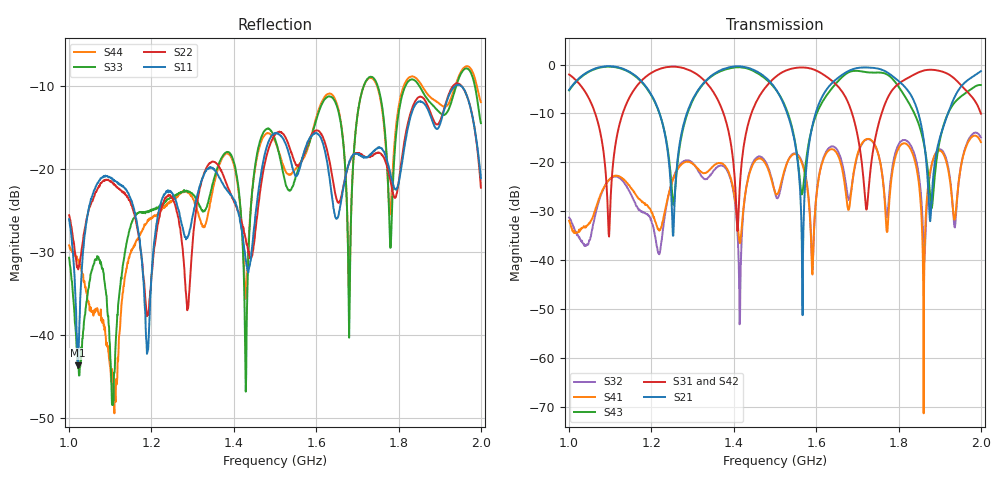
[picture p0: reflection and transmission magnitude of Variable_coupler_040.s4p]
#  HZ  S  DB  R  50.00
! Rohde & Schwarz Vector Network Analyzer
! Rohde-Schwarz,ZNB8-4Port,1311601044102961,2.82
! Created: UTC 1/17/2019, 3:10:14 PM
! freq[Hz]  db:S11  ang:S11  db:S12  ang:S12  db:S13  ang:S13  db:S14  ang:S14
!  db:S21  ang:S21  db:S22  ang:S22  db:S23  ang:S23  db:S24  ang:S24
!  db:S31  ang:S31  db:S32  ang:S32  db:S33  ang:S33  db:S34  ang:S34
!  db:S41  ang:S41  db:S42  ang:S42  db:S43  ang:S43  db:S44  ang:S44
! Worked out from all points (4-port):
!   1001 points, 1 GHz to 2 GHz, reference 50 ohm
!   strongest paths, dB at 1 GHz, 1.25 GHz, 1.5 GHz, 1.75 GHz, 2 GHz:
!     S21: -5.2, -30.4, -4.8, -0.8, -1.4
!     S31: -2.0, -0.4, -2.6, -12.7, -10.0
!     S42: -2.0, -0.4, -2.6, -12.5, -10.4
!     S43: -5.3, -26.1, -4.9, -1.6, -4.2
!     S41: -31.9, -24.1, -26.1, -18.1, -15.9
!     S32: -31.3, -24.0, -26.2, -18.1, -14.9
!   lowest |S11| = -43.6 dB at 1.021 GHz (marker M1), VSWR 1.01, Z = 49.6 + j0.524 ohm
!   |S11| at or under -10 dB: start of sweep to 1.937 GHz; 1.953 GHz to end of sweep
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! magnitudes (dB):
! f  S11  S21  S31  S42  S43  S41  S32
! 1 GHz  -26.0  -5.2  -2.0  -2.0  -5.3  -31.9  -31.3
! 1.021 GHz  -43.6  -3.1  -3.6  -3.6  -3.2  -34.4  -34.8
! 1.097 GHz  -20.9  -0.3  -35.2  -52.2  -0.4  -23.6  -23.6
! 1.252 GHz  -23.0  -35.0  -0.4  -0.4  -28.1  -23.6  -23.4
! 1.478 GHz  -17.6  -2.7  -4.6  -4.5  -3.0  -20.4  -20.0
! 1.567 GHz  -18.6  -51.3  -0.6  -0.6  -26.1  -20.5  -20.2
! 2 GHz  -21.1  -1.4  -10.0  -10.4  -4.2  -15.9  -14.9
